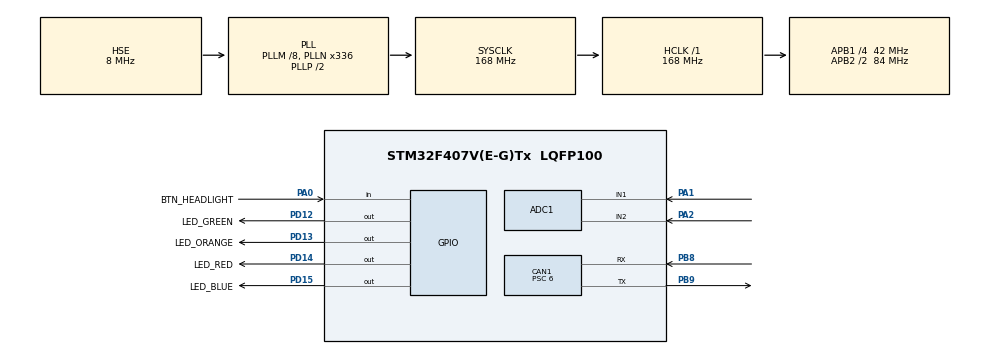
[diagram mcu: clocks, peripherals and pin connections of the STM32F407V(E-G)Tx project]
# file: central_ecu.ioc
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ADC1.Channel-0\#ChannelRegularConversion=ADC_CHANNEL_1
ADC1.Channel-1\#ChannelRegularConversion=ADC_CHANNEL_2
ADC1.ContinuousConvMode=ENABLE
ADC1.DMAContinuousRequests=ENABLE
ADC1.NbrOfConversion=2
ADC1.NbrOfConversionFlag=1
ADC1.Rank-0\#ChannelRegularConversion=1
ADC1.Rank-1\#ChannelRegularConversion=2
ADC1.SamplingTime-0\#ChannelRegularConversion=ADC_SAMPLETIME_84CYCLES
ADC1.SamplingTime-1\#ChannelRegularConversion=ADC_SAMPLETIME_84CYCLES
ADC1.ScanConvMode=ENABLE
ADC1.master=1
CAN1.ABOM=ENABLE
CAN1.BS1=CAN_BS1_11TQ
CAN1.BS2=CAN_BS2_2TQ
CAN1.CalculateBaudRate=500000
CAN1.CalculateTimeBit=2000
CAN1.CalculateTimeQuantum=142.85714285714286
CAN1.NART=ENABLE
CAN1.Prescaler=6
Dma.ADC1.0.Direction=DMA_PERIPH_TO_MEMORY
Dma.ADC1.0.FIFOMode=DMA_FIFOMODE_DISABLE
Dma.ADC1.0.Instance=DMA2_Stream0
Dma.ADC1.0.MemDataAlignment=DMA_MDATAALIGN_HALFWORD
Dma.ADC1.0.MemInc=DMA_MINC_ENABLE
Dma.ADC1.0.Mode=DMA_CIRCULAR
Dma.ADC1.0.PeriphDataAlignment=DMA_PDATAALIGN_HALFWORD
Dma.ADC1.0.PeriphInc=DMA_PINC_DISABLE
Dma.ADC1.0.Priority=DMA_PRIORITY_LOW
Dma.Request0=ADC1
Mcu.Family=STM32F4
Mcu.Name=STM32F407V(E-G)Tx
Mcu.Package=LQFP100
NVIC.CAN1_RX0_IRQn=true\:0\:0\:false\:false\:true\:true\:true\:true
NVIC.DMA2_Stream0_IRQn=true\:0\:0\:false\:false\:true\:false\:true\:true
NVIC.PriorityGroup=NVIC_PRIORITYGROUP_4
NVIC.TIM2_IRQn=true\:0\:0\:false\:false\:true\:true\:true\:true
NVIC.TIM6_DAC_IRQn=true\:0\:0\:false\:false\:true\:true\:true\:true
NVIC.TIM7_IRQn=true\:0\:0\:false\:false\:true\:true\:true\:true
PA0-WKUP.GPIO_Label=BTN_HEADLIGHT
PA0-WKUP.GPIO_PuPd=GPIO_PULLDOWN
PA0-WKUP.Signal=GPIO_Input
PA1.Signal=ADCx_IN1
PA13.Mode=Serial_Wire
PA13.Signal=SYS_JTMS-SWDIO
PA14.Mode=Serial_Wire
PA14.Signal=SYS_JTCK-SWCLK
PA2.Signal=ADCx_IN2
PB8.Mode=CAN_Activate
PB8.Signal=CAN1_RX
PB9.Mode=CAN_Activate
PB9.Signal=CAN1_TX
PD12.GPIO_Label=LED_GREEN
PD12.Signal=GPIO_Output
PD13.GPIO_Label=LED_ORANGE
PD13.Signal=GPIO_Output
PD14.GPIO_Label=LED_RED
PD14.Signal=GPIO_Output
PD15.GPIO_Label=LED_BLUE
PD15.Signal=GPIO_Output
PH0-OSC_IN.Mode=HSE-External-Oscillator
PH0-OSC_IN.Signal=RCC_OSC_IN
PH1-OSC_OUT.Mode=HSE-External-Oscillator
PH1-OSC_OUT.Signal=RCC_OSC_OUT
ProjectManager.HeapSize=0x200
ProjectManager.StackSize=0x400
ProjectManager.TargetToolchain=STM32CubeIDE
RCC.48MHZClocksFreq_Value=84000000
RCC.AHBFreq_Value=168000000
RCC.APB1CLKDivider=RCC_HCLK_DIV4
RCC.APB1Freq_Value=42000000
RCC.APB1TimFreq_Value=84000000
RCC.APB2CLKDivider=RCC_HCLK_DIV2
RCC.APB2Freq_Value=84000000
RCC.APB2TimFreq_Value=168000000
RCC.CortexFreq_Value=168000000
RCC.HCLKFreq_Value=168000000
RCC.HSE_VALUE=8000000
RCC.HSI_VALUE=16000000
RCC.LSE_VALUE=32768
RCC.PLLM=8
RCC.PLLN=336
RCC.PLLSourceVirtual=RCC_PLLSOURCE_HSE
RCC.SYSCLKFreq_VALUE=168000000
RCC.SYSCLKSource=RCC_SYSCLKSOURCE_PLLCLK
RCC.VCOOutputFreq_Value=336000000
SH.ADCx_IN1.0=ADC1_IN1,IN1
SH.ADCx_IN2.0=ADC1_IN2,IN2
TIM2.AutoReloadPreload=TIM_AUTORELOAD_PRELOAD_ENABLE
TIM2.Period=9999
TIM2.Prescaler=8399
TIM6.AutoReloadPreload=TIM_AUTORELOAD_PRELOAD_ENABLE
TIM6.Period=99
TIM6.Prescaler=8399
TIM7.Period=99
TIM7.Prescaler=8399
VP_TIM2_VS_ClockSourceINT.Mode=Internal
VP_TIM6_VS_ClockSourceINT.Mode=Enable_Timer
VP_TIM7_VS_ClockSourceINT.Mode=Enable_Timer
board=custom

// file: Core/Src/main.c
/* USER CODE BEGIN Header */
/**
  ******************************************************************************
  * @file           : main.c
  * @brief          : Main program body
  ******************************************************************************
  * @attention
  *
  * Copyright (c) 2026 STMicroelectronics.
  * All rights reserved.
  *
  * This software is licensed under terms that can be found in the LICENSE file
  * in the root directory of this software component.
  * If no LICENSE file comes with this software, it is provided AS-IS.
  *
  ******************************************************************************
  */
/* USER CODE END Header */
#include "main.h"

/* USER CODE BEGIN Includes */
#include "can_messages.h"
#include <string.h>
#include <stdint.h>
/* USER CODE END Includes */

ADC_HandleTypeDef hadc1;
DMA_HandleTypeDef hdma_adc1;

CAN_HandleTypeDef hcan1;

TIM_HandleTypeDef htim2;
TIM_HandleTypeDef htim6;
TIM_HandleTypeDef htim7;

/* USER CODE BEGIN PV */

/* ADC DMA buffer: [0]=speed pot (PA1), [1]=fuel pot (PA2) */
static uint16_t adc_buf[2];

/* ── Vehicle state ──────────────────────────────────────────────────────── */
typedef struct {
    VehicleGear_t      gear;
    uint8_t            state_flags;
    uint16_t           speed_kmh;
    uint8_t            fuel_pct;
    uint8_t            coolant_temp;
    uint8_t            battery_v;
    uint8_t            light_flags;
    CmdWiper_t         wiper_mode;
    TrunkMotorState_t  trunk_state;
    uint8_t            trunk_pct;
    CmdTurn_t          turn_armed;
    uint8_t            blink_phase;
    uint16_t           rear_dist_cm;
    ParkingLevel_t     parking_level;
} VehicleState_t;

static VehicleState_t g_veh = {
    .gear         = GEAR_PARK,
    .state_flags  = STATE_ENGINE_RUNNING,
    .speed_kmh    = 0,
    .fuel_pct     = 100,
    .coolant_temp = ENCODE_TEMP(25),
    .battery_v    = ENCODE_VOLTAGE(12.6f),
    .light_flags  = 0,
    .wiper_mode   = CMD_WIPER_OFF,
    .trunk_state  = TRUNK_IDLE,
    .trunk_pct    = 0,
    .turn_armed   = CMD_TURN_OFF,
    .blink_phase  = 0,
    .rear_dist_cm = 0xFFFF,
    .parking_level= PARKING_CLEAR
};

/* ── DTC storage (8-slot ring) ──────────────────────────────────────────── */
typedef struct {
    uint16_t          dtc_code;
    DTC_Severity_t    severity;
    uint8_t           count;
    uint8_t           node_id;
    SimpleErrorCode_t simple_code;
    uint8_t           active;
} DtcEntry_t;

#define DTC_STORE_SIZE  8U
static DtcEntry_t g_dtc[DTC_STORE_SIZE];
static uint8_t    g_dtc_count = 0;

/* ── BCM heartbeat watchdog timestamps & state ──────────────────────────── */
static uint32_t g_hb_front = 0;
static uint32_t g_hb_rear  = 0;
#define BCM_TIMEOUT_MS  3000U  /* 3.0s tolerance for 1000ms periodic heartbeats */
static uint8_t  g_front_offline    = 0;
static uint8_t  g_rear_offline     = 0;

/* Misc */
static uint8_t  g_btn_prev   = 0;
static uint8_t  g_uptime_cnt = 0;

/* USER CODE END PV */

void SystemClock_Config(void);
static void MX_GPIO_Init(void);
static void MX_DMA_Init(void);
static void MX_ADC1_Init(void);
static void MX_CAN1_Init(void);
static void MX_TIM2_Init(void);
static void MX_TIM6_Init(void);
static void MX_TIM7_Init(void);
/* USER CODE BEGIN PFP */
static HAL_StatusTypeDef CAN_ConfigExactFilter(uint32_t bank, uint16_t id);
static HAL_StatusTypeDef CAN_ConfigFilters(void);
static HAL_StatusTypeDef CAN_Send(uint16_t id, const uint8_t *data, uint8_t dlc);
static void Update_Sensors(void);
static void Broadcast_VehicleState(void);
static void Broadcast_LightState(void);
static void Broadcast_TrunkState(void);
static void Broadcast_RadarState(void);
static void Send_Heartbeat(void);
static void Send_BlinkTick(void);
static void Send_ACK(uint8_t cmd_nibble, AckStatus_t st, ValidationResult_t reason);
static void Log_DTC(uint8_t node, DTC_Severity_t sev, uint16_t dtc, uint8_t cnt, SimpleErrorCode_t sc);
static ValidationResult_t Validate_TrunkCmd(CmdTrunk_t cmd);
static void Execute_LightCmd(CmdLight_t cmd, uint8_t brightness);
static void Execute_WiperCmd(CmdWiper_t mode, uint8_t spray);
static void Execute_TurnCmd(CmdTurn_t cmd);
static void Execute_TrunkCmd(CmdTrunk_t cmd);
static void Handle_DiagRequest(const uint8_t *d, uint8_t dlc);
/* USER CODE END PFP */

/* USER CODE BEGIN 0 */

/* ── CAN helpers ─────────────────────────────────────────────────────────── */
static HAL_StatusTypeDef CAN_ConfigExactFilter(uint32_t bank, uint16_t id)
{
    CAN_FilterTypeDef f = {0};
    f.FilterBank           = bank;
    f.FilterMode           = CAN_FILTERMODE_IDMASK;
    f.FilterScale          = CAN_FILTERSCALE_32BIT;
    f.FilterIdHigh         = (uint16_t)(id << 5U);
    f.FilterIdLow          = 0x0000U;
    f.FilterMaskIdHigh     = (uint16_t)(0x7FFU << 5U);
    f.FilterMaskIdLow      = 0x0000U;
    f.FilterFIFOAssignment = CAN_RX_FIFO0;
    f.FilterActivation     = CAN_FILTER_ENABLE;
    f.SlaveStartFilterBank = 14U;
    return HAL_CAN_ConfigFilter(&hcan1, &f);
}

static HAL_StatusTypeDef CAN_ConfigFilters(void)
{
    /* GROUP A: Qt -> Central ECU commands */
    if (CAN_ConfigExactFilter(0U,  CAN_ID_CMD_LIGHT_CONTROL)   != HAL_OK) return HAL_ERROR;
    if (CAN_ConfigExactFilter(1U,  CAN_ID_CMD_WIPER_CONTROL)   != HAL_OK) return HAL_ERROR;
    if (CAN_ConfigExactFilter(2U,  CAN_ID_CMD_TURN_SIGNAL)     != HAL_OK) return HAL_ERROR;
    if (CAN_ConfigExactFilter(3U,  CAN_ID_CMD_TRUNK_CONTROL)   != HAL_OK) return HAL_ERROR;
    if (CAN_ConfigExactFilter(4U,  CAN_ID_CMD_DIAGNOSTIC)      != HAL_OK) return HAL_ERROR;
    /* GROUP D: BCM status + sensor reports */
    if (CAN_ConfigExactFilter(5U,  CAN_ID_REPORT_FRONT_STATUS) != HAL_OK) return HAL_ERROR;
    if (CAN_ConfigExactFilter(6U,  CAN_ID_REPORT_FRONT_SENSORS)!= HAL_OK) return HAL_ERROR;
    if (CAN_ConfigExactFilter(7U,  CAN_ID_REPORT_REAR_STATUS)  != HAL_OK) return HAL_ERROR;
    if (CAN_ConfigExactFilter(8U,  CAN_ID_REPORT_REAR_SENSORS) != HAL_OK) return HAL_ERROR;
    /* GROUP E: BCM fault reports */
    if (CAN_ConfigExactFilter(9U,  CAN_ID_FAULT_FRONT_BCM)     != HAL_OK) return HAL_ERROR;
    if (CAN_ConfigExactFilter(10U, CAN_ID_FAULT_REAR_BCM)      != HAL_OK) return HAL_ERROR;
    /* GROUP G: BCM heartbeats */
    if (CAN_ConfigExactFilter(11U, CAN_ID_HEARTBEAT_FRONT_BCM) != HAL_OK) return HAL_ERROR;
    if (CAN_ConfigExactFilter(12U, CAN_ID_HEARTBEAT_REAR_BCM)  != HAL_OK) return HAL_ERROR;
    return HAL_OK;
}

static HAL_StatusTypeDef CAN_Send(uint16_t id, const uint8_t *data, uint8_t dlc)
{
    CAN_TxHeaderTypeDef hdr = {0};
    uint32_t mailbox;
    if (dlc > 8U || (data == NULL && dlc > 0U)) return HAL_ERROR;
    hdr.StdId              = id & 0x07FFU;
    hdr.IDE                = CAN_ID_STD;
    hdr.RTR                = CAN_RTR_DATA;
    hdr.DLC                = dlc;
    hdr.TransmitGlobalTime = DISABLE;
    HAL_GPIO_TogglePin(LED_BLUE_GPIO_Port, LED_BLUE_Pin); /* CAN TX activity */
    return HAL_CAN_AddTxMessage(&hcan1, &hdr, (uint8_t *)data, &mailbox);
}

/* ── Sensor update (called in TIM6 100ms ISR) ────────────────────────────── */
static void Update_Sensors(void)
{
    /* 1. Rotary Gear Selector from Potentiometer 2 (PA2) */
    uint16_t raw_gear = adc_buf[1];
    if (raw_gear < 820U) {
        g_veh.gear = GEAR_PARK;     /* 0%  - 20%: P (Park) */
    } else if (raw_gear < 1640U) {
        g_veh.gear = GEAR_REVERSE;  /* 20% - 40%: R (Reverse) */
    } else if (raw_gear < 2460U) {
        g_veh.gear = GEAR_NEUTRAL;  /* 40% - 60%: N (Neutral) */
    } else if (raw_gear < 3280U) {
        g_veh.gear = GEAR_DRIVE;    /* 60% - 80%: D (Drive) */
    } else {
        g_veh.gear = GEAR_SPORT;    /* 80% - 100%: S (Sport) */
    }

    /* 2. Fuel level fixed at 85% */
    g_veh.fuel_pct = 85U;

    /* 3. Speed calculation from Potentiometer 1 (PA1) based on active Gear */
    uint16_t pot_speed = (uint16_t)((adc_buf[0] * 150UL) / 4095UL);
    if (g_veh.gear == GEAR_PARK || g_veh.gear == GEAR_NEUTRAL) {
        /* Park & Neutral: vehicle wheels are locked / disengaged */
        g_veh.speed_kmh = 0U;
    } else if (g_veh.gear == GEAR_REVERSE) {
        /* Reverse: speed capped at 40 km/h */
        g_veh.speed_kmh = (uint16_t)((adc_buf[0] * 40UL) / 4095UL);
    } else {
        /* Drive (D) & Sport (S): full speed range 0-150 km/h */
        g_veh.speed_kmh = pot_speed;
    }

    if (g_veh.speed_kmh > 0U)
        g_veh.state_flags |=  STATE_VEHICLE_MOVING;
    else
        g_veh.state_flags &= ~STATE_VEHICLE_MOVING;

    if (g_veh.gear == GEAR_REVERSE)
        g_veh.state_flags |=  STATE_REVERSE_ACTIVE;
    else
        g_veh.state_flags &= ~STATE_REVERSE_ACTIVE;

    /* Speed zone LEDs (Green is strictly reserved for CAN RX now) */
    // Orange LED for 0-60 km/h (replaced Green)
    HAL_GPIO_WritePin(LED_ORANGE_GPIO_Port, LED_ORANGE_Pin,
        (g_veh.speed_kmh < 60U) ? GPIO_PIN_SET : GPIO_PIN_RESET);
    // Red LED for >= 60 km/h
    HAL_GPIO_WritePin(LED_RED_GPIO_Port,    LED_RED_Pin,
        (g_veh.speed_kmh >= 60U) ? GPIO_PIN_SET : GPIO_PIN_RESET);

    /* Headlight button debounce (PA0 = onboard USER button) */
    uint8_t btn = HAL_GPIO_ReadPin(BTN_HEADLIGHT_GPIO_Port, BTN_HEADLIGHT_Pin);
    if (btn && !g_btn_prev) {
        if (g_veh.light_flags & STATUS_HEADLIGHT_ON) {
            Execute_LightCmd(CMD_LIGHT_OFF, 100U);
        } else {
            Execute_LightCmd(CMD_LIGHT_HEADLIGHT_LOW, 100U);
        }
    }
    g_btn_prev = btn;
}

/* ── Broadcast functions (GROUP C) ───────────────────────────────────────── */
static void Broadcast_VehicleState(void)
{
    uint8_t d[7];
    d[0] = (uint8_t)g_veh.gear;
    d[1] = g_veh.state_flags;
    d[2] = UNPACK_HIGH_BYTE(g_veh.speed_kmh);
    d[3] = UNPACK_LOW_BYTE (g_veh.speed_kmh);
    d[4] = g_veh.fuel_pct;
    d[5] = g_veh.coolant_temp;
    d[6] = g_veh.battery_v;
    CAN_Send(CAN_ID_STATUS_VEHICLE_STATE, d, 7U);
}

static void Broadcast_LightState(void)
{
    uint8_t d[2] = { g_veh.light_flags, (uint8_t)g_veh.wiper_mode };
    CAN_Send(CAN_ID_STATUS_LIGHTS_STATE, d, 2U);
}

static void Broadcast_TrunkState(void)
{
    uint8_t d[2] = { g_veh.trunk_pct, (uint8_t)g_veh.trunk_state };
    CAN_Send(CAN_ID_STATUS_TRUNK_STATE, d, 2U);
}

static void Broadcast_RadarState(void)
{
    if (!(g_veh.state_flags & STATE_REVERSE_ACTIVE)) return;
    uint8_t d[4];
    d[0] = UNPACK_HIGH_BYTE(g_veh.rear_dist_cm);
    d[1] = UNPACK_LOW_BYTE (g_veh.rear_dist_cm);
    d[2] = (uint8_t)g_veh.parking_level;
    d[3] = 0x00U;
    CAN_Send(CAN_ID_STATUS_REVERSE_RADAR, d, 4U);
}

static void Send_Heartbeat(void)
{
    uint8_t flags = HB_INIT_OK | HB_CAN_OK | HB_SENSORS_OK;
    if (g_dtc_count > 0U) flags |= HB_DTC_ACTIVE;
    uint8_t d[2] = { g_uptime_cnt++, flags };
    CAN_Send(CAN_ID_HEARTBEAT_CENTRAL, d, 2U);
}

/* ── Blink tick (TIM7 500ms ISR) ─────────────────────────────────────────── */
static void Send_BlinkTick(void)
{
    g_veh.blink_phase ^= 1U;
    uint8_t tick[1] = { g_veh.blink_phase ? 0x01U : 0x00U };
    CAN_Send(CAN_ID_BLINK_TICK, tick, 1U);

    uint8_t phase = 0;
    if (g_veh.turn_armed == CMD_TURN_LEFT  || g_veh.turn_armed == CMD_TURN_HAZARD)
        phase |= g_veh.blink_phase ? 0x01U : 0x00U;
    if (g_veh.turn_armed == CMD_TURN_RIGHT || g_veh.turn_armed == CMD_TURN_HAZARD)
        phase |= g_veh.blink_phase ? 0x02U : 0x00U;
    uint8_t bp[1] = { phase };
    CAN_Send(CAN_ID_STATUS_TURN_BLINK, bp, 1U);
}

/* ── ACK helper ──────────────────────────────────────────────────────────── */
static void Send_ACK(uint8_t cmd_nibble, AckStatus_t st, ValidationResult_t reason)
{
    uint8_t d[3] = { cmd_nibble, (uint8_t)st, (uint8_t)reason };
    CAN_Send(CAN_ID_CMD_ACK, d, 3U);
}

/* ── DTC logging + banner dispatch ──────────────────────────────────────── */
static void Log_DTC(uint8_t node, DTC_Severity_t sev, uint16_t dtc,
                    uint8_t cnt, SimpleErrorCode_t sc)
{
    for (uint8_t i = 0; i < DTC_STORE_SIZE; i++) {
        if (g_dtc[i].active && g_dtc[i].dtc_code == dtc) {
            g_dtc[i].count = cnt;
            return;
        }
    }
    for (uint8_t i = 0; i < DTC_STORE_SIZE; i++) {
        if (!g_dtc[i].active) {
            g_dtc[i] = (DtcEntry_t){ dtc, sev, cnt, node, sc, 1U };
            if (g_dtc_count < DTC_STORE_SIZE) g_dtc_count++;
            g_veh.state_flags |= STATE_DTC_ACTIVE;
            uint8_t b[6] = { node, (uint8_t)sev,
                UNPACK_HIGH_BYTE(dtc), UNPACK_LOW_BYTE(dtc), cnt, (uint8_t)sc };
            CAN_Send(CAN_ID_BANNER_FAULT, b, 6U);
            return;
        }
    }
    /* Store full — overwrite oldest */
    memmove(&g_dtc[0], &g_dtc[1], sizeof(DtcEntry_t) * (DTC_STORE_SIZE - 1U));
    g_dtc[DTC_STORE_SIZE-1U] = (DtcEntry_t){ dtc, sev, cnt, node, sc, 1U };
    uint8_t b[6] = { node, (uint8_t)sev,
        UNPACK_HIGH_BYTE(dtc), UNPACK_LOW_BYTE(dtc), cnt, (uint8_t)sc };
    CAN_Send(CAN_ID_BANNER_FAULT, b, 6U);
}

/* ── Command validation ──────────────────────────────────────────────────── */
static ValidationResult_t Validate_TrunkCmd(CmdTrunk_t cmd)
{
    if (cmd == CMD_TRUNK_STOP) return VALIDATION_OK;
    if (g_veh.state_flags & STATE_VEHICLE_MOVING)    return VALIDATION_ERR_SPEED;
    if (g_veh.gear != GEAR_PARK && g_veh.gear != GEAR_NEUTRAL) return VALIDATION_ERR_BAD_GEAR;
    if (g_veh.trunk_state == TRUNK_OPENING || g_veh.trunk_state == TRUNK_CLOSING)
        return VALIDATION_ERR_RESOURCE_BUSY;
    for (uint8_t i = 0; i < DTC_STORE_SIZE; i++) {
        if (g_dtc[i].active &&
            (g_dtc[i].dtc_code == (uint16_t)DTC_B1020 ||
             g_dtc[i].dtc_code == (uint16_t)DTC_B1021))
            return VALIDATION_ERR_DTC_ACTIVE;
    }
    return VALIDATION_OK;
}

/* ── Command execution ───────────────────────────────────────────────────── */
static void Execute_LightCmd(CmdLight_t cmd, uint8_t brightness)
{
    switch (cmd) {
        case CMD_LIGHT_OFF:
            g_veh.light_flags &= ~(STATUS_HEADLIGHT_ON|STATUS_DRL_ON|
                                   STATUS_HIGH_BEAM_ON|STATUS_FOG_ON);
            break;
        case CMD_LIGHT_DRL_ON:
            g_veh.light_flags |= STATUS_DRL_ON; break;
        case CMD_LIGHT_HEADLIGHT_LOW:
            g_veh.light_flags |= STATUS_HEADLIGHT_ON;
            g_veh.light_flags &= ~STATUS_HIGH_BEAM_ON;
            break;
        case CMD_LIGHT_HEADLIGHT_HIGH:
            g_veh.light_flags |= STATUS_HEADLIGHT_ON|STATUS_HIGH_BEAM_ON;
            break;
        case CMD_LIGHT_FOG_ON:
            g_veh.light_flags |= STATUS_FOG_ON; break;
        case CMD_LIGHT_FOG_OFF:
            g_veh.light_flags &= ~STATUS_FOG_ON; break;
        default: break;
    }

    uint8_t exec = 0;
    if (g_veh.light_flags & STATUS_DRL_ON)       exec |= EXEC_FRONT_DRL;
    if (g_veh.light_flags & STATUS_HEADLIGHT_ON) exec |= EXEC_FRONT_HEADLIGHT;
    if (g_veh.light_flags & STATUS_HIGH_BEAM_ON) exec |= EXEC_FRONT_HIGH_BEAM;
    if (g_veh.light_flags & STATUS_FOG_ON)       exec |= EXEC_FRONT_FOG;

    uint8_t d[2] = { exec, brightness };
    CAN_Send(CAN_ID_EXEC_FRONT_LIGHTS, d, 2U);
    Broadcast_LightState();
}

static void Execute_WiperCmd(CmdWiper_t mode, uint8_t spray)
{
    g_veh.wiper_mode = mode;
    uint8_t d[2] = { (uint8_t)mode, spray };
    CAN_Send(CAN_ID_EXEC_FRONT_WIPERS, d, 2U);
    Broadcast_LightState();
}

static void Execute_TurnCmd(CmdTurn_t cmd)
{
    g_veh.turn_armed = cmd;
    uint8_t exec = 0;
    switch (cmd) {
        case CMD_TURN_LEFT:
            exec = EXEC_TURN_LEFT_ARM;
            g_veh.light_flags |= STATUS_TURN_LEFT_ON;
            g_veh.light_flags &= ~(STATUS_TURN_RIGHT_ON | STATUS_HAZARD_ON);
            g_veh.state_flags &= ~STATE_HAZARD_ACTIVE;
            break;
        case CMD_TURN_RIGHT:
            exec = EXEC_TURN_RIGHT_ARM;
            g_veh.light_flags |= STATUS_TURN_RIGHT_ON;
            g_veh.light_flags &= ~(STATUS_TURN_LEFT_ON | STATUS_HAZARD_ON);
            g_veh.state_flags &= ~STATE_HAZARD_ACTIVE;
            break;
        case CMD_TURN_HAZARD:
            exec = EXEC_TURN_HAZARD_ARM | EXEC_TURN_LEFT_ARM | EXEC_TURN_RIGHT_ARM;
            g_veh.state_flags |= STATE_HAZARD_ACTIVE;
            g_veh.light_flags |= (STATUS_HAZARD_ON | STATUS_TURN_LEFT_ON | STATUS_TURN_RIGHT_ON);
            break;
        default:
            g_veh.state_flags &= ~STATE_HAZARD_ACTIVE;
            g_veh.light_flags &= ~(STATUS_HAZARD_ON | STATUS_TURN_LEFT_ON | STATUS_TURN_RIGHT_ON);
            break;
    }
    uint8_t d[1] = { exec };
    CAN_Send(CAN_ID_EXEC_FRONT_TURN, d, 1U);
    CAN_Send(CAN_ID_EXEC_REAR_TURN,  d, 1U);
    Broadcast_LightState();
}

static void Handle_Turn_Request(CmdTurn_t req)
{
    CmdTurn_t next_state;

    if (req == CMD_TURN_OFF) {
        next_state = CMD_TURN_OFF;
    } else if (req == g_veh.turn_armed) {
        // Tapping the same active turn/hazard button toggles it OFF (Coordinator State Machine)
        next_state = CMD_TURN_OFF;
    } else {
        // Transition to new turn mode (LEFT, RIGHT, HAZARD)
        next_state = req;
    }

    Execute_TurnCmd(next_state);
}

static void Execute_TrunkCmd(CmdTrunk_t cmd)
{
    if      (cmd == CMD_TRUNK_OPEN)  { g_veh.trunk_state = TRUNK_OPENING;
                                       g_veh.state_flags |= STATE_TRUNK_AJAR; }
    else if (cmd == CMD_TRUNK_CLOSE) { g_veh.trunk_state = TRUNK_CLOSING; }
    else                             { g_veh.trunk_state = TRUNK_IDLE; }
    uint8_t d[1] = { (uint8_t)cmd };
    CAN_Send(CAN_ID_EXEC_REAR_TRUNK, d, 1U);
    Broadcast_TrunkState();
}

/* ── Diagnostic service handler ──────────────────────────────────────────── */
static void Handle_DiagRequest(const uint8_t *rx, uint8_t dlc)
{
    if (dlc < 1U) return;
    DiagCmd_t cmd = (DiagCmd_t)rx[0];
    uint8_t resp[8] = { (uint8_t)cmd, 0, 1, 0, 0, 0, 0, 0 };

    switch (cmd) {
        case DIAG_CMD_READ_DTC_COUNT:
            resp[3] = g_dtc_count;
            CAN_Send(CAN_ID_STATUS_DIAG_RESPONSE, resp, 4U);
            break;
        case DIAG_CMD_READ_ALL_DTCS:
            for (uint8_t i = 0; i < DTC_STORE_SIZE; i += 2U) {
                if (!g_dtc[i].active) break;
                resp[3] = UNPACK_HIGH_BYTE(g_dtc[i].dtc_code);
                resp[4] = UNPACK_LOW_BYTE (g_dtc[i].dtc_code);
                resp[5] = g_dtc[i].count;
                if (i+1U < DTC_STORE_SIZE && g_dtc[i+1U].active) {
                    resp[6] = UNPACK_HIGH_BYTE(g_dtc[i+1U].dtc_code);
                    resp[7] = UNPACK_LOW_BYTE (g_dtc[i+1U].dtc_code);
                }
                CAN_Send(CAN_ID_STATUS_DIAG_RESPONSE, resp, 8U);
                resp[1]++;
            }
            if (g_dtc_count == 0U) CAN_Send(CAN_ID_STATUS_DIAG_RESPONSE, resp, 4U);
            break;
        case DIAG_CMD_CLEAR_ALL_DTCS:
            memset(g_dtc, 0, sizeof(g_dtc));
            g_dtc_count = 0;
            g_veh.state_flags &= ~STATE_DTC_ACTIVE;
            resp[3] = 0xAAU;
            CAN_Send(CAN_ID_STATUS_DIAG_RESPONSE, resp, 4U);
            { uint8_t clr[2] = {0,0}; CAN_Send(CAN_ID_BANNER_CLEAR, clr, 2U); }
            break;
        case DIAG_CMD_NODE_STATUS: {
            uint32_t now = HAL_GetTick();
            resp[3] = NODE_ID_CENTRAL_ECU;
            resp[4] = ((now - g_hb_front) < BCM_TIMEOUT_MS) ? 0x01U : 0x00U;
            resp[5] = ((now - g_hb_rear)  < BCM_TIMEOUT_MS) ? 0x01U : 0x00U;
            CAN_Send(CAN_ID_STATUS_DIAG_RESPONSE, resp, 6U);
            break;
        }
        default: break;
    }
}

/* ── CAN RX callback (all GROUP A / D / E / G messages) ─────────────────── */
void HAL_CAN_RxFifo0MsgPendingCallback(CAN_HandleTypeDef *phcan)
{
    if (phcan->Instance != CAN1) return;

    /* Ensure Green LED (PD12) stays OFF as requested */
    HAL_GPIO_WritePin(LED_GREEN_GPIO_Port, LED_GREEN_Pin, GPIO_PIN_RESET);

    CAN_RxHeaderTypeDef hdr;
    uint8_t d[8] = {0};
    if (HAL_CAN_GetRxMessage(phcan, CAN_RX_FIFO0, &hdr, d) != HAL_OK) return;
    if (hdr.IDE != CAN_ID_STD || hdr.RTR != CAN_RTR_DATA) return;

    uint16_t id  = (uint16_t)hdr.StdId;
    uint8_t  dlc = (uint8_t) hdr.DLC;
    ValidationResult_t res;

    switch (id) {
        /* GROUP A: commands from Qt */
        case CAN_ID_CMD_LIGHT_CONTROL:
            res = VALIDATION_OK;
            Send_ACK(0x00, ACK_STATUS_APPROVED, res);
            Execute_LightCmd((CmdLight_t)d[0], dlc > 1U ? d[1] : 100U);
            break;
        case CAN_ID_CMD_WIPER_CONTROL:
            Send_ACK(0x01, ACK_STATUS_APPROVED, VALIDATION_OK);
            Execute_WiperCmd((CmdWiper_t)d[0], dlc > 1U ? d[1] : 0U);
            break;
        case CAN_ID_CMD_TURN_SIGNAL:
            Send_ACK(0x02, ACK_STATUS_APPROVED, VALIDATION_OK);
            Handle_Turn_Request((CmdTurn_t)d[0]);
            break;
        case CAN_ID_CMD_TRUNK_CONTROL:
            res = Validate_TrunkCmd((CmdTrunk_t)d[0]);
            Send_ACK(0x03, res == VALIDATION_OK ? ACK_STATUS_APPROVED : ACK_STATUS_REJECTED, res);
            if (res == VALIDATION_OK) Execute_TrunkCmd((CmdTrunk_t)d[0]);
            break;
        case CAN_ID_CMD_DIAGNOSTIC:
            Handle_DiagRequest(d, dlc);
            break;
        /* GROUP D: BCM status */
        case CAN_ID_REPORT_FRONT_STATUS:
            if (dlc >= 1U) {
                if (d[0] & FRONT_ACT_HEADLIGHT) g_veh.light_flags |= STATUS_HEADLIGHT_ON;
                else                             g_veh.light_flags &= ~STATUS_HEADLIGHT_ON;
                if (d[0] & FRONT_ACT_DRL)       g_veh.light_flags |= STATUS_DRL_ON;
                else                             g_veh.light_flags &= ~STATUS_DRL_ON;
                if (d[0] & FRONT_ACT_HIGH_BEAM) g_veh.light_flags |= STATUS_HIGH_BEAM_ON;
                else                             g_veh.light_flags &= ~STATUS_HIGH_BEAM_ON;
                if (d[0] & FRONT_ACT_FOG)       g_veh.light_flags |= STATUS_FOG_ON;
                else                             g_veh.light_flags &= ~STATUS_FOG_ON;

                /* Byte1: actual wiper mode from Front BCM (physical button or AUTO).
                 * Central is the single source of truth for 0x301 Byte1 wiperMode,
                 * so update g_veh.wiper_mode from the BCM's real state. */
                if (dlc >= 2U && d[1] <= (uint8_t)CMD_WIPER_AUTO) {
                    g_veh.wiper_mode = (CmdWiper_t)d[1];
                }

                Broadcast_LightState();
            }
            break;
        case CAN_ID_REPORT_REAR_STATUS:
            if (dlc >= 3U) {
                /* 1. Trunk status parsing */
                g_veh.trunk_state = (TrunkMotorState_t)d[1];
                g_veh.trunk_pct   = d[2];
                if (g_veh.trunk_state == TRUNK_IDLE && g_veh.trunk_pct == 0U)
                    g_veh.state_flags &= ~STATE_TRUNK_AJAR;
                else
                    g_veh.state_flags |= STATE_TRUNK_AJAR;
                Broadcast_TrunkState();
            }
            break;
        case CAN_ID_REPORT_REAR_SENSORS:
            if (dlc >= 4U) {
                g_veh.rear_dist_cm  = PACK_U16(d[0], d[1]);
                g_veh.parking_level = (ParkingLevel_t)d[3];
                Broadcast_RadarState();
            }
            break;
        case CAN_ID_REPORT_FRONT_SENSORS:
            break; /* reserved for future auto-light logic */
        /* GROUP E: BCM faults */
        case CAN_ID_FAULT_FRONT_BCM:
        case CAN_ID_FAULT_REAR_BCM:
            if (dlc >= 5U) {
                /* Noise rejection: valid DTC severities are strictly 0..3 */
                if (d[0] <= 3U) {
                    uint8_t src = (id == CAN_ID_FAULT_FRONT_BCM) ?
                                   NODE_ID_FRONT_BCM : NODE_ID_REAR_BCM;
                    Log_DTC(src, (DTC_Severity_t)d[0],
                            PACK_U16(d[1], d[2]), d[3], (SimpleErrorCode_t)d[4]);
                }
            }
            break;
        /* GROUP G: BCM heartbeats */
        case CAN_ID_HEARTBEAT_FRONT_BCM:
            g_hb_front = HAL_GetTick();
            if (g_front_offline) {
                g_front_offline = 0;
                uint8_t wd[2] = { NODE_ID_FRONT_BCM, 0U }; /* 0 = Online/Recovered */
                CAN_Send(CAN_ID_WATCHDOG_ALERT, wd, 2U);
                for (uint8_t i = 0; i < DTC_STORE_SIZE; i++) {
                    if (g_dtc[i].active && g_dtc[i].node_id == NODE_ID_FRONT_BCM &&
                        g_dtc[i].dtc_code == (uint16_t)DTC_C1002) {
                        g_dtc[i].active = 0;
                        if (g_dtc_count > 0) g_dtc_count--;
                        break;
                    }
                }
                if (g_dtc_count == 0) g_veh.state_flags &= ~STATE_DTC_ACTIVE;
                uint8_t clr[2] = { NODE_ID_FRONT_BCM, 0U };
                CAN_Send(CAN_ID_BANNER_CLEAR, clr, 2U);
            }
            break;
        case CAN_ID_HEARTBEAT_REAR_BCM:
            g_hb_rear = HAL_GetTick();
            if (g_rear_offline) {
                g_rear_offline = 0;
                uint8_t wd[2] = { NODE_ID_REAR_BCM, 0U }; /* 0 = Online/Recovered */
                CAN_Send(CAN_ID_WATCHDOG_ALERT, wd, 2U);
                for (uint8_t i = 0; i < DTC_STORE_SIZE; i++) {
                    if (g_dtc[i].active && g_dtc[i].node_id == NODE_ID_REAR_BCM &&
                        g_dtc[i].dtc_code == (uint16_t)DTC_C1003) {
                        g_dtc[i].active = 0;
                        if (g_dtc_count > 0) g_dtc_count--;
                        break;
                    }
                }
                if (g_dtc_count == 0) g_veh.state_flags &= ~STATE_DTC_ACTIVE;
                uint8_t clr[2] = { NODE_ID_REAR_BCM, 0U };
                CAN_Send(CAN_ID_BANNER_CLEAR, clr, 2U);
            }
            break;
        default: break;
    }
}

/* ── CAN error callback ───────────────────────────────────────────────────── */
void HAL_CAN_ErrorCallback(CAN_HandleTypeDef *phcan)
{
    if (phcan->Instance != CAN1) return;
    if (HAL_CAN_GetError(phcan) & HAL_CAN_ERROR_BOF)
        Log_DTC(NODE_ID_CENTRAL_ECU, DTC_SEVERITY_CRITICAL,
                (uint16_t)DTC_C1001, 1U, ERR_CAN_BUS_OFF);
}

/* ── Timer period elapsed callback ──────────────────────────────────────── */
void HAL_TIM_PeriodElapsedCallback(TIM_HandleTypeDef *htim)
{
    if (htim->Instance == TIM6) {
        /* 100ms: read sensors, broadcast vehicle state, send heartbeat */
        Update_Sensors();
        Broadcast_VehicleState();
        Send_Heartbeat();
    }
    else if (htim->Instance == TIM7) {
        /* 500ms: blink tick + turn-blink phase to Qt */
        Send_BlinkTick();
    }
    else if (htim->Instance == TIM2) {
        /* 1000ms: BCM watchdog check (fire alert only on state transition) */
        uint32_t now = HAL_GetTick();
        if ((now - g_hb_front) > BCM_TIMEOUT_MS) {
            if (!g_front_offline) {
                g_front_offline = 1;
                uint8_t wd[2] = { NODE_ID_FRONT_BCM, 1U };
                CAN_Send(CAN_ID_WATCHDOG_ALERT, wd, 2U);
                Log_DTC(NODE_ID_FRONT_BCM, DTC_SEVERITY_ERROR,
                        (uint16_t)DTC_C1002, 1U, ERR_NODE_TIMEOUT);
            }
        }
        if ((now - g_hb_rear) > BCM_TIMEOUT_MS) {
            if (!g_rear_offline) {
                g_rear_offline = 1;
                uint8_t wd[2] = { NODE_ID_REAR_BCM, 1U };
                CAN_Send(CAN_ID_WATCHDOG_ALERT, wd, 2U);
                Log_DTC(NODE_ID_REAR_BCM, DTC_SEVERITY_ERROR,
                        (uint16_t)DTC_C1003, 1U, ERR_NODE_TIMEOUT);
            }
        }
    }
}

/* USER CODE END 0 */

int main(void)
{

  /* MCU Configuration--------------------------------------------------------*/

  /* Reset of all peripherals, Initializes the Flash interface and the Systick. */
  HAL_Init();

  /* Configure the system clock */
  SystemClock_Config();

  /* Initialize all configured peripherals */
  MX_GPIO_Init();
  MX_DMA_Init();
  MX_ADC1_Init();
  MX_CAN1_Init();
  MX_TIM2_Init();
  MX_TIM6_Init();
  MX_TIM7_Init();
  /* USER CODE BEGIN 2 */

  /* Start ADC with DMA (circular, fills adc_buf[2] continuously) */
  HAL_ADC_Start_DMA(&hadc1, (uint32_t *)adc_buf, 2);

  /* Configure CAN RX filter banks */
  if (CAN_ConfigFilters() != HAL_OK) Error_Handler();

  /* Start CAN peripheral */
  if (HAL_CAN_Start(&hcan1) != HAL_OK) Error_Handler();

  /* Enable CAN interrupts: RX FIFO0 pending, error, bus-off */
  if (HAL_CAN_ActivateNotification(&hcan1,
      CAN_IT_RX_FIFO0_MSG_PENDING |
      CAN_IT_ERROR                |
      CAN_IT_BUSOFF) != HAL_OK) Error_Handler();

  /* Start all timers with interrupt */
  HAL_TIM_Base_Start_IT(&htim6);  /* 100ms — sensors + heartbeat */
  HAL_TIM_Base_Start_IT(&htim7);  /* 500ms — blink tick */
  HAL_TIM_Base_Start_IT(&htim2);  /* 1000ms — BCM watchdog */

  /* Seed watchdog timestamps so no false alerts on boot */
  g_hb_front = HAL_GetTick();
  g_hb_rear  = HAL_GetTick();

  /* USER CODE END 2 */

  /* Infinite loop */
  while (1)
  {

  }
}

void SystemClock_Config(void)
{
  RCC_OscInitTypeDef RCC_OscInitStruct = {0};
  RCC_ClkInitTypeDef RCC_ClkInitStruct = {0};

  /** Configure the main internal regulator output voltage
  */
  __HAL_RCC_PWR_CLK_ENABLE();
  __HAL_PWR_VOLTAGESCALING_CONFIG(PWR_REGULATOR_VOLTAGE_SCALE1);

  /** Initializes the RCC Oscillators according to the specified parameters
  * in the RCC_OscInitTypeDef structure.
  */
  RCC_OscInitStruct.OscillatorType = RCC_OSCILLATORTYPE_HSE;
  RCC_OscInitStruct.HSEState = RCC_HSE_ON;
  RCC_OscInitStruct.PLL.PLLState = RCC_PLL_ON;
  RCC_OscInitStruct.PLL.PLLSource = RCC_PLLSOURCE_HSE;
  RCC_OscInitStruct.PLL.PLLM = 8;
  RCC_OscInitStruct.PLL.PLLN = 336;
  RCC_OscInitStruct.PLL.PLLP = RCC_PLLP_DIV2;
  RCC_OscInitStruct.PLL.PLLQ = 4;
  if (HAL_RCC_OscConfig(&RCC_OscInitStruct) != HAL_OK)
  {
    Error_Handler();
  }

  /** Initializes the CPU, AHB and APB buses clocks
  */
  RCC_ClkInitStruct.ClockType = RCC_CLOCKTYPE_HCLK|RCC_CLOCKTYPE_SYSCLK
                              |RCC_CLOCKTYPE_PCLK1|RCC_CLOCKTYPE_PCLK2;
  RCC_ClkInitStruct.SYSCLKSource = RCC_SYSCLKSOURCE_PLLCLK;
  RCC_ClkInitStruct.AHBCLKDivider = RCC_SYSCLK_DIV1;
  RCC_ClkInitStruct.APB1CLKDivider = RCC_HCLK_DIV4;
  RCC_ClkInitStruct.APB2CLKDivider = RCC_HCLK_DIV2;

  if (HAL_RCC_ClockConfig(&RCC_ClkInitStruct, FLASH_LATENCY_5) != HAL_OK)
  {
    Error_Handler();
  }
}

static void MX_ADC1_Init(void)
{

  ADC_ChannelConfTypeDef sConfig = {0};

  /** Configure the global features of the ADC (Clock, Resolution, Data Alignment and number of conversion)
  */
  hadc1.Instance = ADC1;
  hadc1.Init.ClockPrescaler = ADC_CLOCK_SYNC_PCLK_DIV4;
  hadc1.Init.Resolution = ADC_RESOLUTION_12B;
  hadc1.Init.ScanConvMode = ENABLE;
  hadc1.Init.ContinuousConvMode = ENABLE;
  hadc1.Init.DiscontinuousConvMode = DISABLE;
  hadc1.Init.ExternalTrigConvEdge = ADC_EXTERNALTRIGCONVEDGE_NONE;
  hadc1.Init.ExternalTrigConv = ADC_SOFTWARE_START;
  hadc1.Init.DataAlign = ADC_DATAALIGN_RIGHT;
  hadc1.Init.NbrOfConversion = 2;
  hadc1.Init.DMAContinuousRequests = ENABLE;
  hadc1.Init.EOCSelection = ADC_EOC_SINGLE_CONV;
  if (HAL_ADC_Init(&hadc1) != HAL_OK)
  {
    Error_Handler();
  }

  /** Configure for the selected ADC regular channel its corresponding rank in the sequencer and its sample time.
  */
  sConfig.Channel = ADC_CHANNEL_1;
  sConfig.Rank = 1;
  sConfig.SamplingTime = ADC_SAMPLETIME_84CYCLES;
  if (HAL_ADC_ConfigChannel(&hadc1, &sConfig) != HAL_OK)
  {
    Error_Handler();
  }

  /** Configure for the selected ADC regular channel its corresponding rank in the sequencer and its sample time.
  */
  sConfig.Channel = ADC_CHANNEL_2;
  sConfig.Rank = 2;
  if (HAL_ADC_ConfigChannel(&hadc1, &sConfig) != HAL_OK)
  {
    Error_Handler();
  }

}

static void MX_CAN1_Init(void)
{

  hcan1.Instance = CAN1;
  hcan1.Init.Prescaler = 6;
  hcan1.Init.Mode = CAN_MODE_NORMAL;
  hcan1.Init.SyncJumpWidth = CAN_SJW_1TQ;
  hcan1.Init.TimeSeg1 = CAN_BS1_11TQ;
  hcan1.Init.TimeSeg2 = CAN_BS2_2TQ;
  hcan1.Init.TimeTriggeredMode = DISABLE;
  hcan1.Init.AutoBusOff = ENABLE;
  hcan1.Init.AutoWakeUp = DISABLE;
  hcan1.Init.AutoRetransmission = ENABLE;
  hcan1.Init.ReceiveFifoLocked = DISABLE;
  hcan1.Init.TransmitFifoPriority = DISABLE;
  if (HAL_CAN_Init(&hcan1) != HAL_OK)
  {
    Error_Handler();
  }

}

static void MX_TIM2_Init(void)
{

  TIM_ClockConfigTypeDef sClockSourceConfig = {0};
  TIM_MasterConfigTypeDef sMasterConfig = {0};

  htim2.Instance = TIM2;
  htim2.Init.Prescaler = 8399;
  htim2.Init.CounterMode = TIM_COUNTERMODE_UP;
  htim2.Init.Period = 9999;
  htim2.Init.ClockDivision = TIM_CLOCKDIVISION_DIV1;
  htim2.Init.AutoReloadPreload = TIM_AUTORELOAD_PRELOAD_ENABLE;
  if (HAL_TIM_Base_Init(&htim2) != HAL_OK)
  {
    Error_Handler();
  }
  sClockSourceConfig.ClockSource = TIM_CLOCKSOURCE_INTERNAL;
  if (HAL_TIM_ConfigClockSource(&htim2, &sClockSourceConfig) != HAL_OK)
  {
    Error_Handler();
  }
  sMasterConfig.MasterOutputTrigger = TIM_TRGO_RESET;
  sMasterConfig.MasterSlaveMode = TIM_MASTERSLAVEMODE_DISABLE;
  if (HAL_TIMEx_MasterConfigSynchronization(&htim2, &sMasterConfig) != HAL_OK)
  {
    Error_Handler();
  }

}

static void MX_TIM6_Init(void)
{

  TIM_MasterConfigTypeDef sMasterConfig = {0};

  htim6.Instance = TIM6;
  htim6.Init.Prescaler = 8399;
  htim6.Init.CounterMode = TIM_COUNTERMODE_UP;
  htim6.Init.Period = 99;
  htim6.Init.AutoReloadPreload = TIM_AUTORELOAD_PRELOAD_ENABLE;
  if (HAL_TIM_Base_Init(&htim6) != HAL_OK)
  {
    Error_Handler();
  }
  sMasterConfig.MasterOutputTrigger = TIM_TRGO_RESET;
  sMasterConfig.MasterSlaveMode = TIM_MASTERSLAVEMODE_DISABLE;
  if (HAL_TIMEx_MasterConfigSynchronization(&htim6, &sMasterConfig) != HAL_OK)
  {
    Error_Handler();
  }

}

static void MX_TIM7_Init(void)
{

  TIM_MasterConfigTypeDef sMasterConfig = {0};

  htim7.Instance = TIM7;
  htim7.Init.Prescaler = 8399;
  htim7.Init.CounterMode = TIM_COUNTERMODE_UP;
  htim7.Init.Period = 499;
  htim7.Init.AutoReloadPreload = TIM_AUTORELOAD_PRELOAD_ENABLE;
  if (HAL_TIM_Base_Init(&htim7) != HAL_OK)
  {
    Error_Handler();
  }
  sMasterConfig.MasterOutputTrigger = TIM_TRGO_RESET;
  sMasterConfig.MasterSlaveMode = TIM_MASTERSLAVEMODE_DISABLE;
  if (HAL_TIMEx_MasterConfigSynchronization(&htim7, &sMasterConfig) != HAL_OK)
  {
    Error_Handler();
  }

}

static void MX_DMA_Init(void)
{

  /* DMA controller clock enable */
  __HAL_RCC_DMA2_CLK_ENABLE();

  /* DMA interrupt init */
  /* DMA2_Stream0_IRQn interrupt configuration */
  HAL_NVIC_SetPriority(DMA2_Stream0_IRQn, 0, 0);
  HAL_NVIC_EnableIRQ(DMA2_Stream0_IRQn);

}

static void MX_GPIO_Init(void)
{
  GPIO_InitTypeDef GPIO_InitStruct = {0};

  /* GPIO Ports Clock Enable */
  __HAL_RCC_GPIOH_CLK_ENABLE();
  __HAL_RCC_GPIOA_CLK_ENABLE();
  __HAL_RCC_GPIOD_CLK_ENABLE();
  __HAL_RCC_GPIOB_CLK_ENABLE();

  /*Configure GPIO pin Output Level */
  HAL_GPIO_WritePin(GPIOD, LED_GREEN_Pin|LED_ORANGE_Pin|LED_RED_Pin|LED_BLUE_Pin, GPIO_PIN_RESET);

  /*Configure GPIO pin : BTN_HEADLIGHT_Pin */
  GPIO_InitStruct.Pin = BTN_HEADLIGHT_Pin;
  GPIO_InitStruct.Mode = GPIO_MODE_INPUT;
  GPIO_InitStruct.Pull = GPIO_PULLDOWN;
  HAL_GPIO_Init(BTN_HEADLIGHT_GPIO_Port, &GPIO_InitStruct);

  /*Configure GPIO pins : LED_GREEN_Pin LED_ORANGE_Pin LED_RED_Pin LED_BLUE_Pin */
  GPIO_InitStruct.Pin = LED_GREEN_Pin|LED_ORANGE_Pin|LED_RED_Pin|LED_BLUE_Pin;
  GPIO_InitStruct.Mode = GPIO_MODE_OUTPUT_PP;
  GPIO_InitStruct.Pull = GPIO_NOPULL;
  GPIO_InitStruct.Speed = GPIO_SPEED_FREQ_LOW;
  HAL_GPIO_Init(GPIOD, &GPIO_InitStruct);

}

void Error_Handler(void)
{
  __disable_irq();
  while (1)
  {
  }
}
